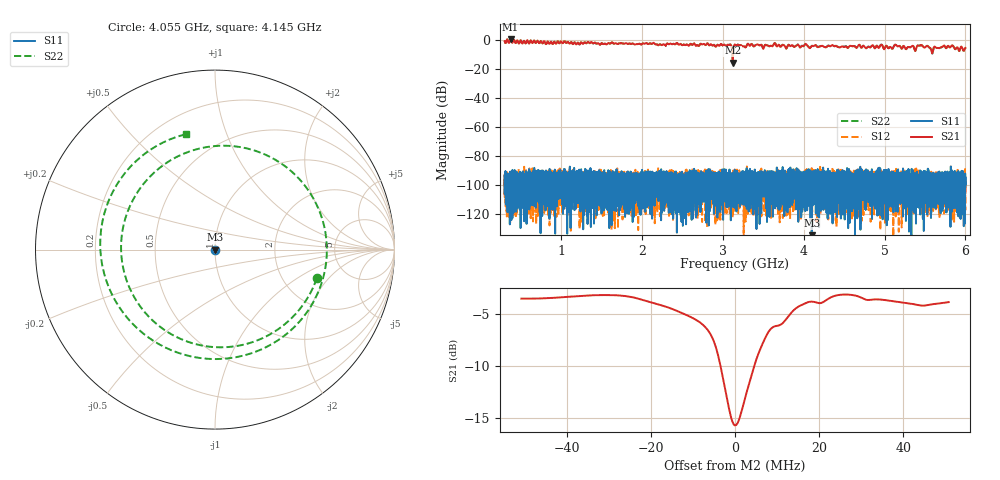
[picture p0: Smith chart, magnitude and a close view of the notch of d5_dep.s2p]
!Agilent Technologies,N5230C,SG49000117,A.08.50.07
!Agilent N5230C: A.08.50.07
!Date: Sunday, March 17, 2024 07:27:50
!Correction: S11(Off)
!S21(Off)
!S12(Off)
!S22(Off)
!S2P File: Measurements: S11, S21, S12, S22:
# Hz S  RI  R 50
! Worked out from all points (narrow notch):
!   20001 points, 300 MHz to 6 GHz, reference 50 ohm
!   highest |S21| = 0.46 dB at 373.8 MHz (marker M1); lowest = -15.7 dB at 3.122 GHz (marker M2)
!   notch at M2: 12.1 dB deep, 8.47 MHz wide at half that depth
!   lowest |S11| = -148.6 dB at 4.099 GHz (marker M3), VSWR 1.00, Z = 50 + j3.5e-06 ohm
!   |S11| at or under -10 dB: start of sweep to end of sweep
!   |S22| runs from -15.7 to 0.5 dB; largest |S21 - S12| = 1.1
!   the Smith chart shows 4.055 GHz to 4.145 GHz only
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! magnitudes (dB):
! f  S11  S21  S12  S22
! 300 MHz  -93.7  -1.0  -97.1  -0.9
! 373.8 MHz  -101.8  0.5  -105.5  0.5
! 1.25 GHz  -94.1  -1.7  -97.7  -1.7
! 2.2 GHz  -100.9  -3.7  -94.6  -3.7
! 3.075 GHz  -96.3  -3.6  -102.4  -3.5
! 3.122 GHz  -109.7  -15.7  -95.8  -15.7
! 3.15 GHz  -94.1  -3.2  -89.8  -3.2
! 3.166 GHz  -104.4  -4.2  -99.3  -4.2
! 3.265 GHz  -92.6  -4.6  -92.7  -4.5
! 3.332 GHz  -104.8  -4.2  -95.5  -4.1
! 3.778 GHz  -96.9  -5.7  -96.3  -5.7
! 4.025 GHz  -101.5  -2.8  -108.4  -2.7
! 4.099 GHz  -148.6  -4.3  -93.0  -4.2
! 4.1 GHz  -93.0  -4.3  -101.5  -4.1
! 5.05 GHz  -101.0  -5.8  -106.3  -5.8
! 5.145 GHz  -97.8  -3.8  -103.2  -3.8
! 5.38 GHz  -99.5  -7.6  -95.7  -7.6
! 5.438 GHz  -99.6  -3.9  -104.1  -4.0
! 5.54 GHz  -97.1  -4.6  -96.4  -4.6
! 5.58 GHz  -92.1  -7.7  -96.4  -7.7
! 5.724 GHz  -95.6  -4.3  -109.8  -4.4
! 6 GHz  -98.7  -5.6  -97.6  -5.7
